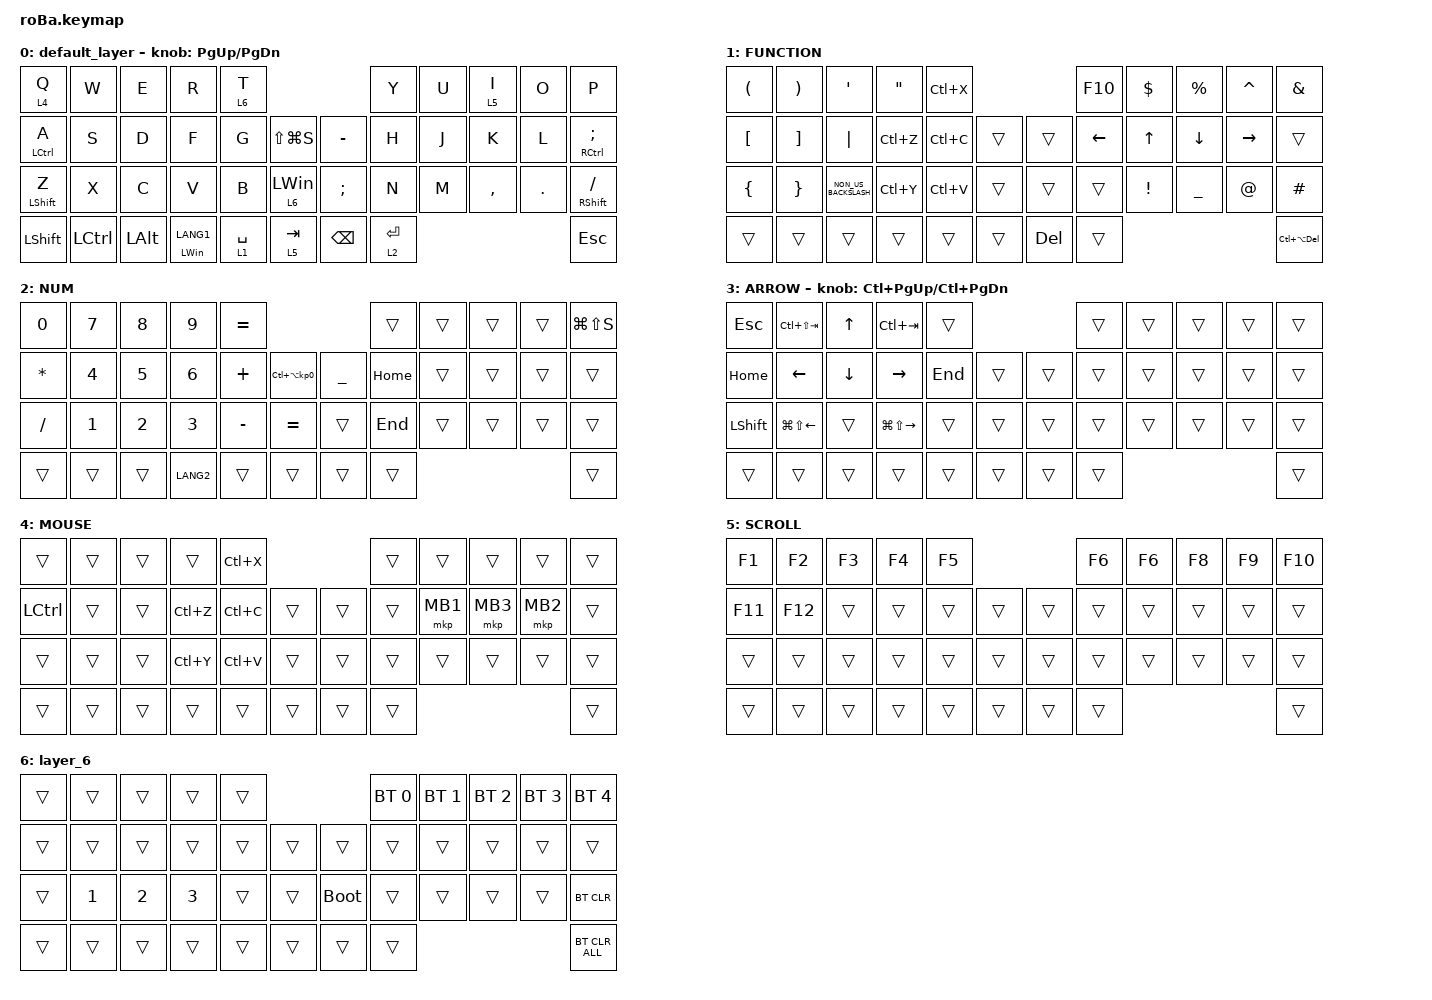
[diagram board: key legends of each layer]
#include <behaviors.dtsi>
#include <dt-bindings/zmk/bt.h>
#include <dt-bindings/zmk/keys.h>
#include <dt-bindings/zmk/pointing.h>

&mt {
    flavor = "balanced";
    quick-tap-ms = <0>;
};

&trackball {
    automouse-layer = <4>;
    scroll-layers = <5>;

    // arrows {
    //     layers = <3>;
    //     bindings =
    //         <&kp RIGHT_ARROW>,
    //         <&kp LEFT_ARROW>,
    //         <&kp UP_ARROW>,
    //         <&kp DOWN_ARROW>;
    //     tick = <10>;
    //     wait-ms = <5>;
    //     tap-ms = <5>;
    // };
};

/ {
    combos {
        compatible = "zmk,combos";

        tab {
            bindings = <&kp TAB>;
            key-positions = <11 12>;
        };

        shift_tab {
            bindings = <&kp LS(TAB)>;
            key-positions = <12 13>;
        };

        muhennkann {
            bindings = <&to_layer_0 INT_MUHENKAN>;
            key-positions = <11 10>;
        };

        double_quotation {
            bindings = <&kp DOUBLE_QUOTES>;
            key-positions = <20 21>;
        };

        eq {
            bindings = <&kp EQUAL>;
            key-positions = <24 25>;
        };
    };

    macros {
        to_layer_0: to_layer_0 {
            compatible = "zmk,behavior-macro-one-param";
            #binding-cells = <1>;
            bindings = <&to 0 &macro_param_1to1 &kp MACRO_PLACEHOLDER>;
            label = "TO_LAYER_0";
        };
    };

    behaviors {
        lt_to_layer_0: lt_to_layer_0 {
            compatible = "zmk,behavior-hold-tap";
            label = "LAYER_TAP_TO_0";
            bindings = <&mo>, <&to_layer_0>;

            #binding-cells = <2>;
            tapping-term-ms = <200>;
        };
    };

    keymap {
        compatible = "zmk,keymap";

        default_layer {
            bindings = <
&lt_to_layer_0 4 Q  &kp W      &kp E         &kp R               &lt 6 T                                               &kp Y        &kp U  &lt 5 I    &kp O    &kp P
&mt LCTRL A         &kp S      &kp D         &kp F               &kp G        &kp LS(LG(S))             &kp MINUS      &kp H        &kp J  &kp K      &kp L    &mt RCTRL SEMICOLON
&mt LEFT_SHIFT Z    &kp X      &kp C         &kp V               &kp B        &lt 6 LEFT_WIN            &kp SEMICOLON  &kp N        &kp M  &kp COMMA  &kp DOT  &mt RIGHT_SHIFT SLASH
&kp LEFT_SHIFT      &kp LCTRL  &kp LEFT_ALT  &mt LEFT_WIN LANG1  &lt 1 SPACE  &lt_to_layer_0 5 TAB      &kp BACKSPACE  &lt 2 ENTER                             &kp ESCAPE
            >;

            sensor-bindings = <&inc_dec_kp PG_UP PAGE_DOWN>;
        };

        FUNCTION {
            bindings = <
&kp LEFT_PARENTHESIS  &kp RIGHT_PARENTHESIS  &kp SQT               &kp DOUBLE_QUOTES  &kp LC(X)                       &kp F10         &kp DOLLAR       &kp PERCENT     &kp CARET        &kp AMPERSAND
&kp LEFT_BRACKET      &kp RIGHT_BRACKET      &kp PIPE              &kp LC(Z)          &kp LC(C)  &trans      &trans   &kp LEFT_ARROW  &kp UP_ARROW     &kp DOWN_ARROW  &kp RIGHT_ARROW  &trans
&kp LEFT_BRACE        &kp RIGHT_BRACE        &kp NON_US_BACKSLASH  &kp LC(Y)          &kp LC(V)  &trans      &trans   &trans          &kp EXCLAMATION  &kp UNDERSCORE  &kp AT_SIGN      &kp HASH
&trans                &trans                 &trans                &trans             &trans     &trans      &kp DEL  &trans                                                            &kp LC(LA(DEL))
            >;
        };

        NUM {
            bindings = <
&kp N0        &kp N7  &kp N8  &kp N9     &kp EQUAL                                               &trans    &trans  &trans  &trans  &kp LG(LS(S))
&kp ASTERISK  &kp N4  &kp N5  &kp N6     &kp PLUS   &kp LC(LA(KP_NUMBER_0))      &kp UNDERSCORE  &kp HOME  &trans  &trans  &trans  &trans
&kp SLASH     &kp N1  &kp N2  &kp N3     &kp MINUS  &kp EQUAL                    &trans          &kp END   &trans  &trans  &trans  &trans
&trans        &trans  &trans  &kp LANG2  &trans     &trans                       &trans          &trans                            &trans
            >;
        };

        ARROW {
            bindings = <
&kp ESCAPE      &kp LC(LS(TAB))         &kp UP_ARROW    &kp LC(TAB)              &trans                       &trans  &trans  &trans  &trans  &trans
&kp HOME        &kp LEFT_ARROW          &kp DOWN_ARROW  &kp RIGHT_ARROW          &kp END  &trans      &trans  &trans  &trans  &trans  &trans  &trans
&kp LEFT_SHIFT  &kp LG(LS(LEFT_ARROW))  &trans          &kp LG(LS(RIGHT_ARROW))  &trans   &trans      &trans  &trans  &trans  &trans  &trans  &trans
&trans          &trans                  &trans          &trans                   &trans   &trans      &trans  &trans                          &trans
            >;

            sensor-bindings = <&inc_dec_kp LC(PAGE_UP) LC(PAGE_DOWN)>;
        };

        MOUSE {
            bindings = <
&trans     &trans  &trans  &trans     &kp LC(X)                      &trans  &trans    &trans    &trans    &trans
&kp LCTRL  &trans  &trans  &kp LC(Z)  &kp LC(C)  &trans      &trans  &trans  &mkp MB1  &mkp MB3  &mkp MB2  &trans
&trans     &trans  &trans  &kp LC(Y)  &kp LC(V)  &trans      &trans  &trans  &trans    &trans    &trans    &trans
&trans     &trans  &trans  &trans     &trans     &trans      &trans  &trans                                &trans
            >;
        };

        SCROLL {
            bindings = <
&kp F1   &kp F2   &kp F3  &kp F4  &kp F5                      &kp F6  &kp F6  &kp F8  &kp F9  &kp F10
&kp F11  &kp F12  &trans  &trans  &trans  &trans      &trans  &trans  &trans  &trans  &trans  &trans
&trans   &trans   &trans  &trans  &trans  &trans      &trans  &trans  &trans  &trans  &trans  &trans
&trans   &trans   &trans  &trans  &trans  &trans      &trans  &trans                          &trans
            >;
        };

        layer_6 {
            bindings = <
&trans  &trans        &trans        &trans        &trans                           &bt BT_SEL 0  &bt BT_SEL 1  &bt BT_SEL 2  &bt BT_SEL 3  &bt BT_SEL 4
&trans  &trans        &trans        &trans        &trans  &trans      &trans       &trans        &trans        &trans        &trans        &trans
&trans  &kp NUMBER_1  &kp NUMBER_2  &kp NUMBER_3  &trans  &trans      &bootloader  &trans        &trans        &trans        &trans        &bt BT_CLR
&trans  &trans        &trans        &trans        &trans  &trans      &trans       &trans                                                  &bt BT_CLR_ALL
            >;
        };
    };
};
